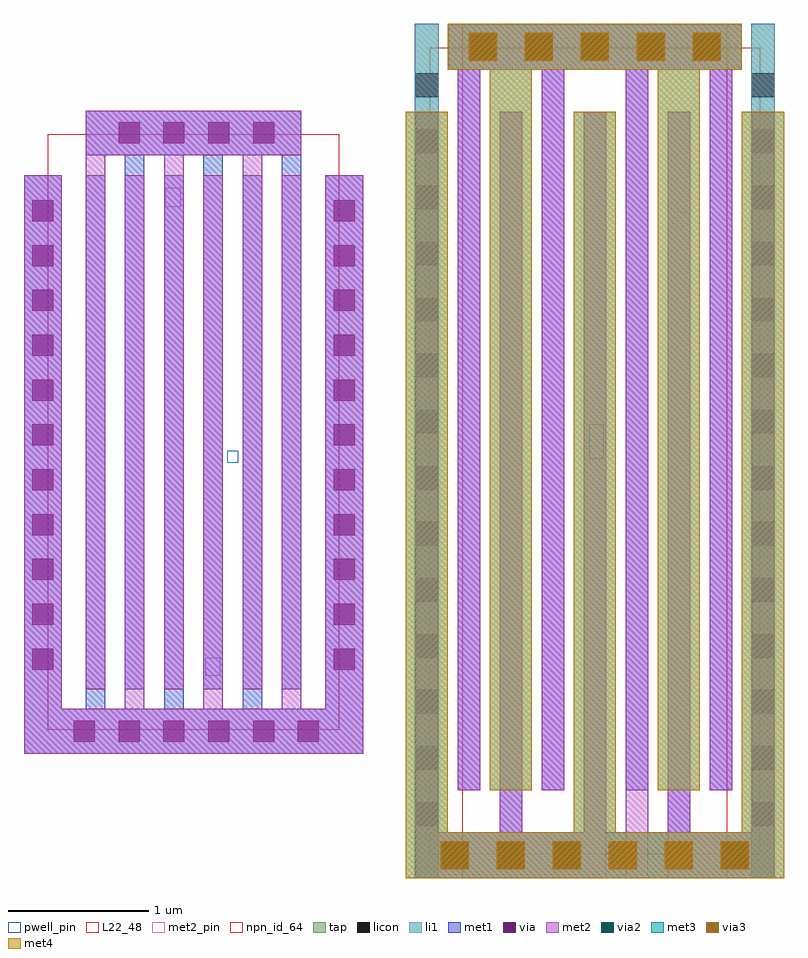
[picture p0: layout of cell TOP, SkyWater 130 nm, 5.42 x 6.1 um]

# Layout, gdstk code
from math import pi, radians
import gdstk
lib = gdstk.Library(unit=1e-6, precision=1e-09)
def R(c, l, rs):  # rectangles x0, y0, x1, y1
    for r in rs: c.add(gdstk.rectangle(r[:2], r[2:], *l))
def A(c, l, x, y, w, h, nx, ny, dx, dy):  # array of equal rectangles
    R(c, l, [(x+i*dx, y+j*dy, x+i*dx+w, y+j*dy+h) for i in range(nx) for j in range(ny)])
L22_48 = (22, 48)
tap = (65, 44)
licon = (66, 44)
li1 = (67, 20)
met1 = (68, 20)
via = (68, 44)
met2_pin = (69, 16)
met2 = (69, 20)
via2 = (69, 44)
met3 = (70, 20)
via3 = (70, 44)
met4 = (71, 20)
npn_id_64 = (82, 64)
pwell_pin = (122, 16)

sky130_fd_pr__cap_vpp_02 = lib.new_cell('sky130_fd_pr__cap_vpp_02p4x04p6_m1m2_noshield')
A(sky130_fd_pr__cap_vpp_02, met1, 0, 0.32, 0.14, 3.81, 3, 1, 0.56, 0)
A(sky130_fd_pr__cap_vpp_02, met1, 0.28, 0.46, 0.14, 3.81, 3, 1, 0.56, 0)
R(sky130_fd_pr__cap_vpp_02, met1, [(0,0,1.54,0.32), (-0.44,0.46,-0.17,4.27), (1.71,0.46,1.98,4.27), (-0.44,4.27,1.98,4.59)])
A(sky130_fd_pr__cap_vpp_02, via, -0.38, 0.64, 0.15, 0.15, 1, 11, 0, 0.32)
A(sky130_fd_pr__cap_vpp_02, via, 1.77, 0.64, 0.15, 0.15, 1, 11, 0, 0.32)
A(sky130_fd_pr__cap_vpp_02, via, -0.125, 4.355, 0.15, 0.15, 6, 1, 0.32, 0)
R(sky130_fd_pr__cap_vpp_02, via, [(0.195,0.085,0.345,0.235), (0.195,0.085,0.345,0.235), (0.515,0.085,0.665,0.235), (0.515,0.085,0.665,0.235), (0.835,0.085,0.985,0.235), (0.835,0.085,0.985,0.235), (1.155,0.085,1.305,0.235), (1.155,0.085,1.305,0.235)])
R(sky130_fd_pr__cap_vpp_02, met2_pin, [(0.86,0.55,0.97,0.685), (0.58,3.905,0.685,4.035)])
A(sky130_fd_pr__cap_vpp_02, met2, 0.28, 0.32, 0.14, 3.81, 3, 1, 0.56, 0)
A(sky130_fd_pr__cap_vpp_02, met2, 0, 0.46, 0.14, 3.81, 3, 1, 0.56, 0)
R(sky130_fd_pr__cap_vpp_02, met2, [(0,0,1.54,0.32), (-0.44,0.46,-0.17,4.27), (1.71,0.46,1.98,4.27), (-0.44,4.27,1.98,4.59)])
R(sky130_fd_pr__cap_vpp_02, npn_id_64, [(-0.27,0.17,1.81,4.42)])
R(sky130_fd_pr__cap_vpp_02, pwell_pin, [(0.45,2.43,0.53,2.515)])
sky130_fd_pr__cap_vpp_02.add(gdstk.Label('C0', (0.92,0.618), layer=69, texttype=5))
sky130_fd_pr__cap_vpp_02.add(gdstk.Label('C1', (0.633,3.97), layer=69, texttype=5))
sky130_fd_pr__cap_vpp_02.add(gdstk.Label('SUB', (0.49,2.473), layer=64, texttype=59))

c_sky130_fd_pr__cap_vpp_02 = lib.new_cell('sky130_fd_pr__cap_vpp_02p7x06p1_m1m2m3m4_shieldl1_fingercap')
R(c_sky130_fd_pr__cap_vpp_02, L22_48, [(0.405,0,2.295,6.1)])
R(c_sky130_fd_pr__cap_vpp_02, tap, [(0.065,0,0.235,6.1), (2.465,0,2.635,6.1)])
A(c_sky130_fd_pr__cap_vpp_02, licon, 0.065, 0.355, 0.17, 0.17, 1, 14, 0, 0.4)
A(c_sky130_fd_pr__cap_vpp_02, licon, 2.465, 0.355, 0.17, 0.17, 1, 14, 0, 0.4)
R(c_sky130_fd_pr__cap_vpp_02, li1, [(0.065,0,0.235,6.1), (2.465,0,2.635,6.1)])
A(c_sky130_fd_pr__cap_vpp_02, via, 0.475, 0.09, 0.15, 0.15, 5, 1, 0.4, 0)
A(c_sky130_fd_pr__cap_vpp_02, via, 1.475, 5.86, 0.15, 0.15, 3, 1, 0.4, 0)
R(c_sky130_fd_pr__cap_vpp_02, via, [(0.275,5.86,0.425,6.01)])
R(c_sky130_fd_pr__cap_vpp_02, met2_pin, [(1.435,0.105,1.615,0.285), (0.7,1.35,0.795,1.45)])
A(c_sky130_fd_pr__cap_vpp_02, via2, 0.45, 0.065, 0.2, 0.2, 5, 1, 0.4, 0)
A(c_sky130_fd_pr__cap_vpp_02, via2, 1.45, 5.835, 0.2, 0.2, 3, 1, 0.4, 0)
R(c_sky130_fd_pr__cap_vpp_02, via2, [(0.25,5.835,0.45,6.035)])
A(c_sky130_fd_pr__cap_vpp_02, via3, 0.45, 0.065, 0.2, 0.2, 5, 1, 0.4, 0)
A(c_sky130_fd_pr__cap_vpp_02, via3, 0.25, 5.835, 0.2, 0.2, 6, 1, 0.4, 0)
R(c_sky130_fd_pr__cap_vpp_02, npn_id_64, [(0.17,0.17,2.53,5.93)])
R(c_sky130_fd_pr__cap_vpp_02, pwell_pin, [(1.285,2.86,1.39,3.105)])
c_sky130_fd_pr__cap_vpp_02.add(gdstk.FlexPath([(1.35,5.77),(1.35,0.63)], 0.16, ends="flush", simple_path=True, layer=68, datatype=20))  # met1
c_sky130_fd_pr__cap_vpp_02.add(gdstk.FlexPath([(1.65,5.47),(1.65,0.33)], 0.16, ends="flush", simple_path=True, layer=68, datatype=20))  # met1
c_sky130_fd_pr__cap_vpp_02.add(gdstk.FlexPath([(1.95,5.77),(1.95,0.63)], 0.16, ends="flush", simple_path=True, layer=68, datatype=20))  # met1
c_sky130_fd_pr__cap_vpp_02.add(gdstk.FlexPath([(2.25,5.47),(2.25,0.33)], 0.16, ends="flush", simple_path=True, layer=68, datatype=20))  # met1
c_sky130_fd_pr__cap_vpp_02.add(gdstk.FlexPath([(1.05,5.47),(1.05,0.33)], 0.16, ends="flush", simple_path=True, layer=68, datatype=20))  # met1
c_sky130_fd_pr__cap_vpp_02.add(gdstk.FlexPath([(0.75,5.77),(0.75,0.63)], 0.16, ends="flush", simple_path=True, layer=68, datatype=20))  # met1
c_sky130_fd_pr__cap_vpp_02.add(gdstk.FlexPath([(0.45,5.47),(0.45,0.33)], 0.16, ends="flush", simple_path=True, layer=68, datatype=20))  # met1
c_sky130_fd_pr__cap_vpp_02.add(gdstk.FlexPath([(0.15,5.77),(0.15,0.63)], 0.16, ends="flush", simple_path=True, layer=68, datatype=20))  # met1
c_sky130_fd_pr__cap_vpp_02.add(gdstk.FlexPath([(0.07,5.935),(2.63,5.935)], 0.33, ends="flush", simple_path=True, layer=68, datatype=20))  # met1
c_sky130_fd_pr__cap_vpp_02.add(gdstk.FlexPath([(2.55,5.77),(2.55,0.63)], 0.16, ends="flush", simple_path=True, layer=68, datatype=20))  # met1
c_sky130_fd_pr__cap_vpp_02.add(gdstk.FlexPath([(0.3,0.165),(2.4,0.165)], 0.33, ends="flush", simple_path=True, layer=68, datatype=20))  # met1
c_sky130_fd_pr__cap_vpp_02.add(gdstk.FlexPath([(1.27,5.935),(2.63,5.935)], 0.33, ends="flush", simple_path=True, layer=69, datatype=20))  # met2
c_sky130_fd_pr__cap_vpp_02.add(gdstk.FlexPath([(0.3,0.165),(2.4,0.165)], 0.33, ends="flush", simple_path=True, layer=69, datatype=20))  # met2
c_sky130_fd_pr__cap_vpp_02.add(gdstk.FlexPath([(0.45,5.47),(0.45,0.33)], 0.16, ends="flush", simple_path=True, layer=69, datatype=20))  # met2
c_sky130_fd_pr__cap_vpp_02.add(gdstk.FlexPath([(0.15,5.77),(0.15,0.63)], 0.16, ends="flush", simple_path=True, layer=69, datatype=20))  # met2
c_sky130_fd_pr__cap_vpp_02.add(gdstk.FlexPath([(1.05,6.1),(1.05,0.33)], 0.16, ends="flush", simple_path=True, layer=69, datatype=20))  # met2
c_sky130_fd_pr__cap_vpp_02.add(gdstk.FlexPath([(0.75,5.77),(0.75,0.63)], 0.16, ends="flush", simple_path=True, layer=69, datatype=20))  # met2
c_sky130_fd_pr__cap_vpp_02.add(gdstk.FlexPath([(1.65,5.47),(1.65,0.33)], 0.16, ends="flush", simple_path=True, layer=69, datatype=20))  # met2
c_sky130_fd_pr__cap_vpp_02.add(gdstk.FlexPath([(1.35,5.77),(1.35,0.63)], 0.16, ends="flush", simple_path=True, layer=69, datatype=20))  # met2
c_sky130_fd_pr__cap_vpp_02.add(gdstk.FlexPath([(2.25,5.47),(2.25,0.33)], 0.16, ends="flush", simple_path=True, layer=69, datatype=20))  # met2
c_sky130_fd_pr__cap_vpp_02.add(gdstk.FlexPath([(1.95,5.77),(1.95,0.63)], 0.16, ends="flush", simple_path=True, layer=69, datatype=20))  # met2
c_sky130_fd_pr__cap_vpp_02.add(gdstk.FlexPath([(2.55,5.77),(2.55,0.63)], 0.16, ends="flush", simple_path=True, layer=69, datatype=20))  # met2
c_sky130_fd_pr__cap_vpp_02.add(gdstk.FlexPath([(0.07,5.935),(0.83,5.935)], 0.33, ends="flush", simple_path=True, layer=69, datatype=20))  # met2
c_sky130_fd_pr__cap_vpp_02.add(gdstk.FlexPath([(0.3,0.165),(2.4,0.165)], 0.33, ends="flush", simple_path=True, layer=71, datatype=20))  # met4
c_sky130_fd_pr__cap_vpp_02.add(gdstk.FlexPath([(1.95,5.47),(1.95,0.33)], 0.3, ends="flush", simple_path=True, layer=71, datatype=20))  # met4
c_sky130_fd_pr__cap_vpp_02.add(gdstk.FlexPath([(0.75,5.47),(0.75,0.33)], 0.3, ends="flush", simple_path=True, layer=71, datatype=20))  # met4
c_sky130_fd_pr__cap_vpp_02.add(gdstk.FlexPath([(2.55,5.77),(2.55,0.63)], 0.3, ends="flush", simple_path=True, layer=71, datatype=20))  # met4
c_sky130_fd_pr__cap_vpp_02.add(gdstk.FlexPath([(1.35,5.77),(1.35,0.63)], 0.3, ends="flush", simple_path=True, layer=71, datatype=20))  # met4
c_sky130_fd_pr__cap_vpp_02.add(gdstk.FlexPath([(0,5.935),(2.7,5.935)], 0.33, ends="flush", simple_path=True, layer=71, datatype=20))  # met4
c_sky130_fd_pr__cap_vpp_02.add(gdstk.FlexPath([(0.15,5.77),(0.15,0.63)], 0.3, ends="flush", simple_path=True, layer=71, datatype=20))  # met4
c_sky130_fd_pr__cap_vpp_02.add(gdstk.FlexPath([(0.15,5.77),(0.15,0.63)], 0.3, ends="flush", simple_path=True, layer=70, datatype=20))  # met3
c_sky130_fd_pr__cap_vpp_02.add(gdstk.FlexPath([(2.55,5.77),(2.55,0.63)], 0.3, ends="flush", simple_path=True, layer=70, datatype=20))  # met3
c_sky130_fd_pr__cap_vpp_02.add(gdstk.FlexPath([(1.35,5.77),(1.35,0.63)], 0.3, ends="flush", simple_path=True, layer=70, datatype=20))  # met3
c_sky130_fd_pr__cap_vpp_02.add(gdstk.FlexPath([(0.75,5.47),(0.75,0.33)], 0.3, ends="flush", simple_path=True, layer=70, datatype=20))  # met3
c_sky130_fd_pr__cap_vpp_02.add(gdstk.FlexPath([(1.95,5.47),(1.95,0.33)], 0.3, ends="flush", simple_path=True, layer=70, datatype=20))  # met3
c_sky130_fd_pr__cap_vpp_02.add(gdstk.FlexPath([(0,5.935),(2.7,5.935)], 0.33, ends="flush", simple_path=True, layer=70, datatype=20))  # met3
c_sky130_fd_pr__cap_vpp_02.add(gdstk.FlexPath([(0.3,0.165),(2.4,0.165)], 0.33, ends="flush", simple_path=True, layer=70, datatype=20))  # met3
c_sky130_fd_pr__cap_vpp_02.add(gdstk.Label('C0', (0.735,1.41), layer=69, texttype=5))
c_sky130_fd_pr__cap_vpp_02.add(gdstk.Label('C1', (1.54,0.195), layer=69, texttype=5))
c_sky130_fd_pr__cap_vpp_02.add(gdstk.Label('SUB', (1.34,2.985), layer=64, texttype=59))

top = lib.new_cell('TOP')
top.add(gdstk.Reference(sky130_fd_pr__cap_vpp_02, (0.145,0.685), rotation=pi))
top.add(gdstk.Reference(c_sky130_fd_pr__cap_vpp_02, (3.59,1.305), rotation=pi))

lib.write_gds('TOP.gds')
